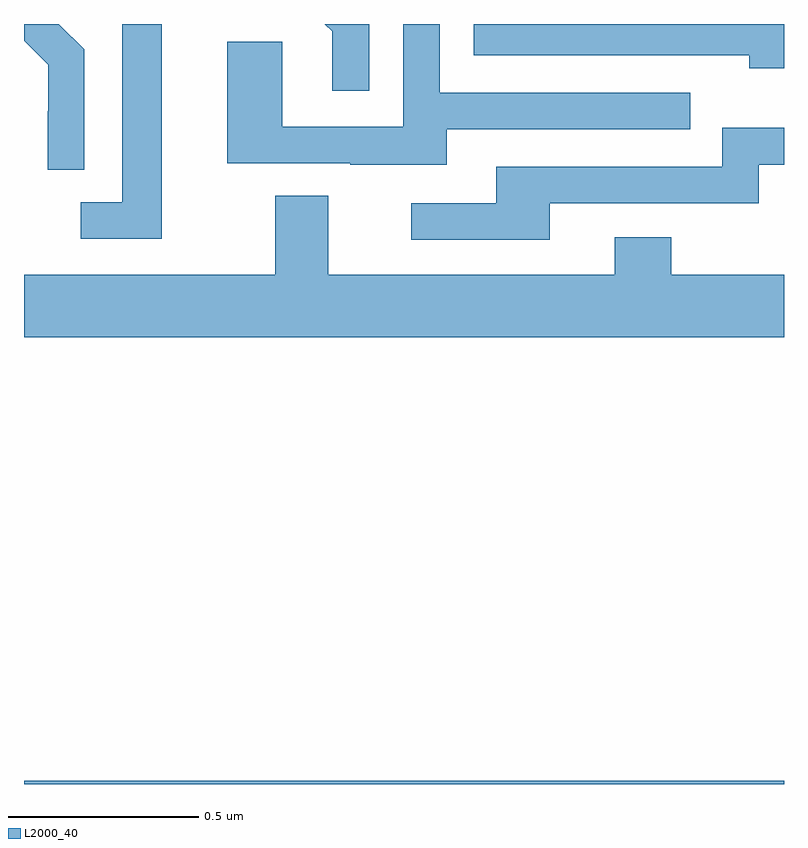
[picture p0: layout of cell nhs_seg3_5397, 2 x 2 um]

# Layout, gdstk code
import gdstk
lib = gdstk.Library(unit=1e-6, precision=1e-09)
def R(c, l, rs):  # rectangles x0, y0, x1, y1
    for r in rs: c.add(gdstk.rectangle(r[:2], r[2:], *l))
def P(c, l, *ps):  # polygons
    for p in ps: c.add(gdstk.Polygon(p, *l))
L2000_40 = (2000, 40)

nhs_seg3_5397 = lib.new_cell('nhs_seg3_5397')
R(nhs_seg3_5397, L2000_40, [(178,706.4,180,706.408)])
P(nhs_seg3_5397, L2000_40, [(179.113,708.123),(179.753,708.123),(179.753,708.219),(179.094,708.219),(179.094,708.4),(178.998,708.4),(178.998,708.129),(178.68,708.129),(178.68,708.353),(178.535,708.353),(178.535,708.033),(178.859,708.033),(178.859,708.029),(179.113,708.029)],
  [(178.158,708.334),(178.092,708.4),(178,708.4),(178,708.356),(178.064,708.293),(178.064,708.17),(178.062,708.17),(178.062,708.016),(178.158,708.016)],
  [(180,708.4),(179.184,708.4),(179.184,708.318),(179.909,708.318),(179.909,708.284),(180,708.284)],
  [(178.363,708.4),(178.259,708.4),(178.259,707.931),(178.149,707.931),(178.149,707.835),(178.363,707.835)],
  [(178.908,708.4),(178.792,708.4),(178.811,708.381),(178.811,708.225),(178.908,708.225)],
  [(179.383,707.928),(179.934,707.928),(179.934,708.03),(180,708.03),(180,708.127),(179.838,708.127),(179.838,708.024),(179.243,708.024),(179.243,707.928),(179.019,707.928),(179.019,707.832),(179.383,707.832)],
  [(180,707.74),(179.703,707.74),(179.703,707.839),(179.555,707.839),(179.555,707.74),(178.801,707.74),(178.801,707.948),(178.661,707.948),(178.661,707.74),(178,707.74),(178,707.576),(180,707.576)])

lib.write_gds('nhs_seg3_5397.gds')
